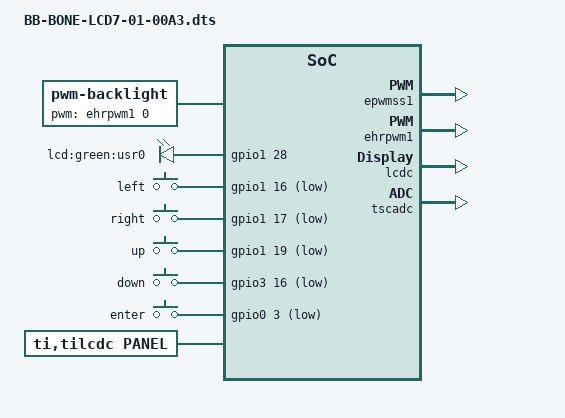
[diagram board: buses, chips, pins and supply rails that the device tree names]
/*
 * Copyright (C) 2012 Texas Instruments Incorporated - http://www.ti.com/
 *
 * This program is free software; you can redistribute it and/or modify
 * it under the terms of the GNU General Public License version 2 as
 * published by the Free Software Foundation.
 */

/dts-v1/;
/plugin/;

#include <dt-bindings/gpio/gpio.h>
#include <dt-bindings/pinctrl/am33xx.h>
#include <dt-bindings/board/am335x-bbw-bbb-base.h>

/ {
	/*
	 * Free up the pins used by the cape from the pinmux helpers.
	 */
	fragment@0 {
		target = <&ocp>;
		__overlay__ {
			P8_45_pinmux { status = "disabled"; };	/* lcd: lcd_data0 */
			P8_46_pinmux { status = "disabled"; };	/* lcd: lcd_data1 */
			P8_43_pinmux { status = "disabled"; };	/* lcd: lcd_data2 */
			P8_44_pinmux { status = "disabled"; };	/* lcd: lcd_data3 */
			P8_41_pinmux { status = "disabled"; };	/* lcd: lcd_data4 */
			P8_42_pinmux { status = "disabled"; };	/* lcd: lcd_data5 */
			P8_39_pinmux { status = "disabled"; };	/* lcd: lcd_data6 */
			P8_40_pinmux { status = "disabled"; };	/* lcd: lcd_data7 */
			P8_37_pinmux { status = "disabled"; };	/* lcd: lcd_data8 */
			P8_38_pinmux { status = "disabled"; };	/* lcd: lcd_data9 */
			P8_36_pinmux { status = "disabled"; };	/* lcd: lcd_data10 */
			P8_34_pinmux { status = "disabled"; };	/* lcd: lcd_data11 */
			P8_35_pinmux { status = "disabled"; };	/* lcd: lcd_data12 */
			P8_33_pinmux { status = "disabled"; };	/* lcd: lcd_data13 */
			P8_31_pinmux { status = "disabled"; };	/* lcd: lcd_data14 */
			P8_32_pinmux { status = "disabled"; };	/* lcd: lcd_data15 */

			P8_27_pinmux { status = "disabled"; };	/* lcd: lcd_vsync */
			P8_29_pinmux { status = "disabled"; };	/* lcd: lcd_hsync */
			P8_28_pinmux { status = "disabled"; };	/* lcd: lcd_pclk */
			P8_30_pinmux { status = "disabled"; };	/* lcd: lcd_ac_bias_en */

			P9_22_pinmux { status = "disabled"; };	/* lcd: gpio0_2 DISPEN */
			P9_12_pinmux { status = "disabled"; };	/* led: gpio1_28 LED */

			P9_14_pinmux { status = "disabled"; };	/* pwm: ehrpwm1a PWM_BL */

			P9_15_pinmux { status = "disabled"; };	/* keys: gpio1_16 LEFT */
			P9_23_pinmux { status = "disabled"; };	/* keys: gpio1_17 RIGHT */
			P9_16_pinmux { status = "disabled"; };	/* keys: gpio1_19 UP */
			P9_30_pinmux { status = "disabled"; };	/* keys: gpio3_16 DOWN */
			P9_21_pinmux { status = "disabled"; };	/* keys: gpio0_3 ENTER */
		};
	};

	fragment@1 {
		target = <&am33xx_pinmux>;
		__overlay__ {

			bb_lcd_led_pins: pinmux_bb_lcd_led_pins {
				pinctrl-single,pins = <
					BONE_P9_12 (PIN_INPUT | MUX_MODE7) /* gpmc_ben1.gpio1_28, INPUT | PULLDIS | MODE7 */
				>;
			};

			bb_lcd_pwm_backlight_pins: pinmux_bb_lcd_pwm_backlight_pins {
				pinctrl-single,pins = <
					BONE_P9_14 (PIN_OUTPUT_PULLDOWN | MUX_MODE6) /* gpmc_a2.ehrpwm1a */
				>;
			};

			bb_lcd_lcd_pins: pinmux_bb_lcd_lcd_pins {
				pinctrl-single,pins = <
					BONE_P8_45 (PIN_OUTPUT | MUX_MODE0) /* lcd: lcd_data0.lcd_data0 */
					BONE_P8_46 (PIN_OUTPUT | MUX_MODE0) /* lcd: lcd_data1.lcd_data1 */
					BONE_P8_43 (PIN_OUTPUT | MUX_MODE0) /* lcd: lcd_data2.lcd_data2 */
					BONE_P8_44 (PIN_OUTPUT | MUX_MODE0) /* lcd: lcd_data3.lcd_data3 */
					BONE_P8_41 (PIN_OUTPUT | MUX_MODE0) /* lcd: lcd_data4.lcd_data4 */
					BONE_P8_42 (PIN_OUTPUT | MUX_MODE0) /* lcd: lcd_data5.lcd_data5 */
					BONE_P8_39 (PIN_OUTPUT | MUX_MODE0) /* lcd: lcd_data6.lcd_data6 */
					BONE_P8_40 (PIN_OUTPUT | MUX_MODE0) /* lcd: lcd_data7.lcd_data7 */
					BONE_P8_37 (PIN_OUTPUT | MUX_MODE0) /* lcd: lcd_data8.lcd_data8 */
					BONE_P8_38 (PIN_OUTPUT | MUX_MODE0) /* lcd: lcd_data9.lcd_data9 */
					BONE_P8_36 (PIN_OUTPUT | MUX_MODE0) /* lcd: lcd_data10.lcd_data10 */
					BONE_P8_34 (PIN_OUTPUT | MUX_MODE0) /* lcd: lcd_data11.lcd_data11 */
					BONE_P8_35 (PIN_OUTPUT | MUX_MODE0) /* lcd: lcd_data12.lcd_data12 */
					BONE_P8_33 (PIN_OUTPUT | MUX_MODE0) /* lcd: lcd_data13.lcd_data13 */
					BONE_P8_31 (PIN_OUTPUT | MUX_MODE0) /* lcd: lcd_data14.lcd_data14 */
					BONE_P8_32 (PIN_OUTPUT | MUX_MODE0) /* lcd: lcd_data15.lcd_data15 */

					BONE_P8_27 (PIN_OUTPUT | MUX_MODE0) /* lcd: lcd_vsync.lcd_vsync */
					BONE_P8_29 (PIN_OUTPUT | MUX_MODE0) /* lcd: lcd_hsync.lcd_hsync */
					BONE_P8_28 (PIN_OUTPUT | MUX_MODE0) /* lcd: lcd_pclk.lcd_pclk */
					BONE_P8_30 (PIN_OUTPUT | MUX_MODE0) /* lcd: lcd_ac_bias_en.lcd_ac_bias_en */

					BONE_P9_22 (PIN_OUTPUT_PULLUP | MUX_MODE7) /* gpio0_2 */
				>;
			};

			bb_lcd_keymap_pins: pinmux_bb_lcd_keymap_pins {
				pinctrl-single,pins = <
					BONE_P9_15 (PIN_INPUT | MUX_MODE7) /* gpmc_a0.gpio1_16 */
					BONE_P9_23 (PIN_INPUT | MUX_MODE7) /* gpmc_a1.gpio1_17 */
					BONE_P9_16 (PIN_INPUT | MUX_MODE7) /* gpmc_a3.gpio1_19 */
					BONE_P9_30 (PIN_INPUT | MUX_MODE7) /* mcasp0_axr0.gpio3_16 */
					BONE_P9_21 (PIN_INPUT | MUX_MODE7) /* spi0_d0.gpio0_3 */
				>;
			};
		};
	};

	fragment@2 {
		target = <&epwmss1>;
		__overlay__ {
			status = "okay";
		};
	};

	fragment@3 {
		target = <&ehrpwm1>;
		__overlay__ {
			pinctrl-names = "default";
			pinctrl-0 = <&bb_lcd_pwm_backlight_pins>;
			status = "okay";
		};
	};

	fragment@4 {
		target = <&lcdc>;
		__overlay__ {
			status = "okay";
		};
	};

	fragment@5 {
		target = <&tscadc>;
		__overlay__ {
			status = "okay";

			tsc {
				ti,wires = <4>;
				ti,x-plate-resistance = <200>;
				ti,coordinate-readouts = <5>;
				ti,wire-config = <0x00 0x11 0x22 0x33>;
				ti,charge-delay = <0x400>;
			};

			adc {
				ti,adc-channels = <4 5 6 7>;
				ti,chan-step-opendelay = <0x098 0x3ffff 0x098 0x0>;
				ti,chan-step-sampledelay = <0xff 0x0 0xf 0x0>;
				ti,chan-step-avg = <16 2 4 8>;
			};
		};
	};

	fragment@6 {
		target-path="/";
		__overlay__ {

			/* avoid stupid warning */
			#address-cells = <1>;
			#size-cells = <1>;

			backlight {
				status = "okay";
				compatible = "pwm-backlight";
				pwms = <&ehrpwm1 0 500000 0>;
				brightness-levels = <
					0  1  2  3  4  5  6  7  8  9
					10 11 12 13 14 15 16 17 18 19
					20 21 22 23 24 25 26 27 28 29
					30 31 32 33 34 35 36 37 38 39
					40 41 42 43 44 45 46 47 48 49
					50 51 52 53 54 55 56 57 58 59
					60 61 62 63 64 65 66 67 68 69
					70 71 72 73 74 75 76 77 78 79
					80 81 82 83 84 85 86 87 88 89
					90 91 92 93 94 95 96 97 98 99
					100
				>;
				default-brightness-level = <100>;
			};

			gpio-leds-cape-lcd {
				compatible = "gpio-leds";
				pinctrl-names = "default";
				pinctrl-0 = <&bb_lcd_led_pins>;

				lcd-led0 {
					label = "lcd:green:usr0";
					gpios = <&gpio1 28 0>;
					linux,default-trigger = "heartbeat";
					default-state = "off";
				};
			};

			gpio_keys {
				compatible = "gpio-keys";
				pinctrl-names = "default";
				pinctrl-0 = <&bb_lcd_keymap_pins>;

				#address-cells = <1>;
				#size-cells = <0>;

				button@1 {
					debounce_interval = <50>;
					linux,code = <105>;
					label = "left";
					gpios = <&gpio1 16 0x1>;
					gpio-key,wakeup;
					autorepeat;
				};
				button@2 {
					debounce_interval = <50>;
					linux,code = <106>;
					label = "right";
					gpios = <&gpio1 17 0x1>;
					gpio-key,wakeup;
					autorepeat;
				};
				button@3 {
					debounce_interval = <50>;
					linux,code = <103>;
					label = "up";
					gpios = <&gpio1 19 0x1>;
					gpio-key,wakeup;
					autorepeat;
				};
				button@4 {
					debounce_interval = <50>;
					linux,code = <108>;
					label = "down";
					gpios = <&gpio3 16 0x1>;
					gpio-key,wakeup;
					autorepeat;
				};
				button@5 {
					debounce_interval = <50>;
					linux,code = <28>;
					label = "enter";
					gpios = <&gpio0 3 0x1>;
					gpio-key,wakeup;
				};
			};

			panel {
				status = "okay";
				compatible = "ti,tilcdc,panel";
				pinctrl-names = "default";
				pinctrl-0 = <&bb_lcd_lcd_pins>;
				panel-info {
					ac-bias           = <255>;
					ac-bias-intrpt    = <0>;
					dma-burst-sz      = <16>;
					bpp               = <16>;
					fdd               = <0x80>;
					sync-edge         = <0>;
					sync-ctrl         = <1>;
					raster-order      = <0>;
					fifo-th           = <0>;
				};
				display-timings {
					native-mode = <&timing0>;
					/* Settings for ThreeFive S9700RTWV35TR / LCD7 cape: */
					timing0: 800x480 {
						clock-frequency = <30000000>;
						hactive = <800>;
						vactive = <480>;
						hfront-porch = <40>;
						hback-porch = <40>;
						hsync-len = <48>;
						vback-porch = <30>;
						vfront-porch = <13>;
						vsync-len = <3>;
						hsync-active = <0>;
						vsync-active = <0>;
						de-active = <1>;
						pixelclk-active = <0>;
					};
				};
			};
		};
	};
};
